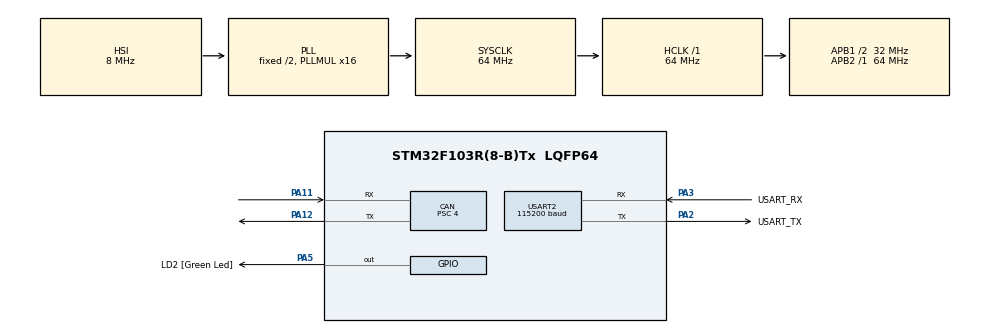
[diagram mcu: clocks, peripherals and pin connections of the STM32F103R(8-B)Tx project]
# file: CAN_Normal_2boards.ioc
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CAN.AutoBusOff=ENABLE
CAN.AutoRetransmission=ENABLE
CAN.BS1=CAN_BS1_13TQ
CAN.BS2=CAN_BS2_2TQ
CAN.CalculateBaudRate=500000
CAN.CalculateTimeBit=2000
CAN.CalculateTimeQuantum=125
CAN.Mode=CAN_MODE_NORMAL
CAN.Prescaler=4
Mcu.Family=STM32F1
Mcu.Name=STM32F103R(8-B)Tx
Mcu.Package=LQFP64
NVIC.CAN1_SCE_IRQn=true\:2\:0\:false\:false\:true\:true\:true\:true
NVIC.PriorityGroup=NVIC_PRIORITYGROUP_4
NVIC.USB_LP_CAN1_RX0_IRQn=true\:1\:0\:false\:false\:true\:true\:true\:true
PA11.GPIO_PuPd=GPIO_PULLUP
PA11.Mode=Master
PA11.Signal=CAN_RX
PA12.GPIO_Speed=GPIO_SPEED_FREQ_HIGH
PA12.Mode=Master
PA12.Signal=CAN_TX
PA13.GPIO_Label=TMS
PA13.Mode=Serial_Wire
PA13.Signal=SYS_JTMS-SWDIO
PA14.GPIO_Label=TCK
PA14.Mode=Serial_Wire
PA14.Signal=SYS_JTCK-SWCLK
PA2.GPIO_Label=USART_TX
PA2.GPIO_Mode=GPIO_MODE_AF_PP
PA2.GPIO_PuPd=GPIO_NOPULL
PA2.GPIO_Speed=GPIO_SPEED_FREQ_LOW
PA2.Mode=Asynchronous
PA2.Signal=USART2_TX
PA3.GPIO_Label=USART_RX
PA3.GPIO_PuPd=GPIO_NOPULL
PA3.GPIO_Speed=GPIO_SPEED_FREQ_LOW
PA3.Mode=Asynchronous
PA3.Signal=USART2_RX
PA5.GPIO_Label=LD2 [Green Led]
PA5.GPIO_ModeDefaultOutputPP=GPIO_MODE_OUTPUT_PP
PA5.GPIO_PuPd=GPIO_NOPULL
PA5.GPIO_Speed=GPIO_SPEED_FREQ_LOW
PA5.Signal=GPIO_Output
PB3.GPIO_Label=SWO
PB3.Signal=SYS_JTDO-TRACESWO
PC14-OSC32_IN.Mode=LSE-External-Oscillator
PC14-OSC32_IN.Signal=RCC_OSC32_IN
PC15-OSC32_OUT.Mode=LSE-External-Oscillator
PC15-OSC32_OUT.Signal=RCC_OSC32_OUT
PD0-OSC_IN.Mode=HSE-External-Clock-Source
PD0-OSC_IN.Signal=RCC_OSC_IN
PD1-OSC_OUT.Mode=HSE-External-Clock-Source
PD1-OSC_OUT.Signal=RCC_OSC_OUT
ProjectManager.HeapSize=0x200
ProjectManager.StackSize=0x400
ProjectManager.TargetToolchain=STM32CubeIDE
RCC.AHBFreq_Value=64000000
RCC.APB1CLKDivider=RCC_HCLK_DIV2
RCC.APB1Freq_Value=32000000
RCC.APB1TimFreq_Value=64000000
RCC.APB2Freq_Value=64000000
RCC.APB2TimFreq_Value=64000000
RCC.HCLKFreq_Value=64000000
RCC.PLLMUL=RCC_PLL_MUL16
RCC.RTCClockSelection=RCC_RTCCLKSOURCE_LSE
RCC.SYSCLKFreq_VALUE=64000000
RCC.SYSCLKSource=RCC_SYSCLKSOURCE_PLLCLK
RCC.USBFreq_Value=64000000
USART2.BaudRate=115200
USART2.VirtualMode=VM_ASYNC
board=NUCLEO-F103RB

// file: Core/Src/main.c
/* USER CODE BEGIN Header */
/**
 ******************************************************************************
 * @file           : main.c
 * @brief          : Main program body
 ******************************************************************************
 * @attention
 *
 * Copyright (c) 2026 STMicroelectronics.
 * All rights reserved.
 *
 * This software is licensed under terms that can be found in the LICENSE file
 * in the root directory of this software component.
 * If no LICENSE file comes with this software, it is provided AS-IS.
 *
 ******************************************************************************
 */
/**
 * 15_CAN_Normal_2boards_c  —  [계층: HAL]  실제 CAN 버스(Normal 모드): 보드 2장 + 트랜시버, 오류 카운터와 버스오프 복구
 *
 * 01/02 예제는 루프백이라 "ACK 를 주는 상대"가 없었다. 실제 버스에서는 **다른 노드가 ACK 를 해 주어야** 송신이 성공한다.
 * 이 예제는 같은 코드를 보드 두 장에 올리고(노드 번호만 다르게) 서로 주고받는다.
 *
 * 배선 (보드마다 3.3V CAN 트랜시버 필요: SN65HVD230, TJA1051T/3 등)
 *   STM32 PA12 (CAN_TX) -> 트랜시버 TXD,  PA11 (CAN_RX) <- 트랜시버 RXD,  3.3V, GND
 *   트랜시버 CANH-CANH, CANL-CANL 로 두 보드를 연결하고 **버스 양 끝에 120Ω 종단 저항**(CANH-CANL 사이)
 *   Nucleo 에는 트랜시버가 없다. (PA11/PA12 는 USB 와 같은 핀이라 CAN 과 USB 는 동시에 못 쓴다)
 *
 * 빌드: 노드 번호는 platformio.ini 의 build_flags 에 `-DNODE_ID=0` 또는 `-DNODE_ID=1` 로 지정한다 (기본 0).
 *   보드 A 는 0, 보드 B 는 1 로 각각 빌드/업로드. 노드마다 송신 ID = 0x100 + NODE_ID 가 다르다.
 *
 * 동작
 *   - 500ms 마다 프레임 [ID 0x100+NODE_ID, 데이터: 노드번호, 32비트 카운터, LD2 상태] 송신, 수신하면 LD2 토글.
 *   - 수신 프레임을 UART(115200)로 출력하고, 상대 카운터가 건너뛰면(손실) 알린다.
 *   - 1초마다 **CAN 오류 카운터**(TEC 송신 오류 수, REC 수신 오류 수)와 상태를 출력: 상대가 없으면 ACK 오류로 TEC 가 올라가
 *     (Error Active -> Error Passive TEC > 127 -> Bus-Off TEC > 255) 순서로 나빠지는 것을 볼 수 있다.
 *   - Bus-Off 는 `AutoBusOff`(하드웨어 자동 복구, 128 x 11 recessive 비트 뒤)로 회복. 송신 메일박스가 막히면(ACK 없음) 요청을 취소해 재시도.
 *
 * 필터: 모든 프레임 통과 (필터 설정은 02_CAN_Filter 참고). 비트 타이밍: 500kbps (01_CAN_Loopback 참고).
 *
 * ISR vs 콜백
 *   USB_LP_CAN1_RX0_IRQHandler(수신) / CAN1_SCE_IRQHandler(상태 변화·오류) (stm32f1xx_it.c, 진짜 ISR) -> HAL_CAN_IRQHandler()
 *     -> HAL_CAN_RxFifo0MsgPendingCallback() / HAL_CAN_ErrorCallback() (이 파일)
 */
/* USER CODE END Header */
#include "main.h"

/* USER CODE BEGIN Includes */
#include <stdio.h>
#include <string.h>
/* USER CODE END Includes */

/* USER CODE BEGIN PD */
#ifndef NODE_ID
#define NODE_ID 0        /* platformio.ini build_flags 의 -DNODE_ID=0/1 로 덮어쓴다 */
#endif

/* USER CODE END PD */

CAN_HandleTypeDef hcan;
UART_HandleTypeDef huart2;

/* USER CODE BEGIN PV */
static volatile uint8_t rx_flag, err_flag;
static volatile uint32_t err_code;
static CAN_RxHeaderTypeDef rx_hdr;
static uint8_t rx_data[8];
/* USER CODE END PV */

void SystemClock_Config(void);
static void MX_GPIO_Init(void);
static void MX_CAN_Init(void);
static void MX_USART2_UART_Init(void);

int main(void)
{

  /* USER CODE BEGIN 1 */
  char msg[128];
  /* USER CODE END 1 */

  /* MCU Configuration--------------------------------------------------------*/

  /* Reset of all peripherals, Initializes the Flash interface and the Systick. */
  HAL_Init();

  /* Configure the system clock */
  SystemClock_Config();

  /* Initialize all configured peripherals */
  MX_GPIO_Init();
  MX_CAN_Init();
  MX_USART2_UART_Init();
  /* USER CODE BEGIN 2 */
  CAN_FilterTypeDef f = {0};                                            /* 모든 ID 통과 */
  f.FilterBank = 0;
  f.FilterMode = CAN_FILTERMODE_IDMASK;
  f.FilterScale = CAN_FILTERSCALE_32BIT;
  f.FilterFIFOAssignment = CAN_RX_FIFO0;
  f.FilterActivation = ENABLE;
  if (HAL_CAN_ConfigFilter(&hcan, &f) != HAL_OK) Error_Handler();
  if (HAL_CAN_Start(&hcan) != HAL_OK) Error_Handler();
  HAL_CAN_ActivateNotification(&hcan, CAN_IT_RX_FIFO0_MSG_PENDING | CAN_IT_ERROR_WARNING | CAN_IT_ERROR_PASSIVE |
                                      CAN_IT_BUSOFF | CAN_IT_LAST_ERROR_CODE | CAN_IT_ERROR);

  snprintf(msg, sizeof msg, "\r\n[CAN normal mode] node %d, tx id 0x%03X, 500kbps\r\n", NODE_ID, 0x100 + NODE_ID);
  HAL_UART_Transmit(&huart2, (uint8_t *)msg, (uint16_t)strlen(msg), 100);

  uint32_t counter = 0, t_tx = HAL_GetTick(), t_st = HAL_GetTick();
  uint32_t last_peer_cnt = 0;
  int have_peer = 0;
  uint32_t tx_skipped = 0;

  /* USER CODE END 2 */

  /* Infinite loop */
  while (1)
  {

    /* USER CODE BEGIN 3 */
    if (HAL_GetTick() - t_tx >= 500)
    {
        t_tx += 500;
        if (HAL_CAN_GetTxMailboxesFreeLevel(&hcan) == 0)              /* 이전 프레임이 ACK 를 못 받아 메일박스가 막힘 */
        {
            HAL_CAN_AbortTxRequest(&hcan, CAN_TX_MAILBOX0 | CAN_TX_MAILBOX1 | CAN_TX_MAILBOX2);
            tx_skipped++;
        }
        CAN_TxHeaderTypeDef h = {0};
        h.StdId = 0x100u + NODE_ID;
        h.IDE = CAN_ID_STD;  h.RTR = CAN_RTR_DATA;  h.DLC = 6;
        h.TransmitGlobalTime = DISABLE;
        uint8_t d[6] = { (uint8_t)NODE_ID, (uint8_t)counter, (uint8_t)(counter >> 8), (uint8_t)(counter >> 16),
                         (uint8_t)(counter >> 24), (uint8_t)HAL_GPIO_ReadPin(LD2_GPIO_Port, LD2_Pin) };
        uint32_t mb;
        if (HAL_CAN_AddTxMessage(&hcan, &h, d, &mb) == HAL_OK) counter++;
    }

    if (rx_flag)
    {
        rx_flag = 0;
        uint32_t peer_cnt = rx_data[1] | (rx_data[2] << 8) | (rx_data[3] << 16) | ((uint32_t)rx_data[4] << 24);
        int lost = (have_peer && peer_cnt != last_peer_cnt + 1) ? (int)(peer_cnt - last_peer_cnt - 1) : 0;
        have_peer = 1;
        last_peer_cnt = peer_cnt;
        int n = snprintf(msg, sizeof msg, "RX id=0x%03lX from node %u counter=%lu%s\r\n", (unsigned long)rx_hdr.StdId,
                         rx_data[0], (unsigned long)peer_cnt, lost > 0 ? "  <-- lost frames!" : "");
        HAL_UART_Transmit(&huart2, (uint8_t *)msg, (uint16_t)n, 100);
        HAL_GPIO_TogglePin(LD2_GPIO_Port, LD2_Pin);
    }

    if (err_flag)
    {
        err_flag = 0;
        int n = snprintf(msg, sizeof msg, "CAN error callback: HAL error code 0x%08lX\r\n", (unsigned long)err_code);
        HAL_UART_Transmit(&huart2, (uint8_t *)msg, (uint16_t)n, 100);
    }

    if (HAL_GetTick() - t_st >= 1000)
    {
        t_st += 1000;
        uint32_t esr = CAN1->ESR;                                      /* Error status register */
        uint32_t tec = (esr >> 16) & 0xFF, rec = (esr >> 24) & 0xFF;
        const char *state = (esr & CAN_ESR_BOFF) ? "BUS-OFF" : (esr & CAN_ESR_EPVF) ? "error passive" :
                            (esr & CAN_ESR_EWGF) ? "error warning" : "error active (ok)";
        int n = snprintf(msg, sizeof msg, "status: %s  TEC=%lu REC=%lu  sent=%lu tx-mailbox-aborts=%lu\r\n",
                         state, (unsigned long)tec, (unsigned long)rec, (unsigned long)counter, (unsigned long)tx_skipped);
        HAL_UART_Transmit(&huart2, (uint8_t *)msg, (uint16_t)n, 100);
    }
  }
  /* USER CODE END 3 */
}

void SystemClock_Config(void)
{
  RCC_OscInitTypeDef RCC_OscInitStruct = {0};
  RCC_ClkInitTypeDef RCC_ClkInitStruct = {0};

  /** Initializes the RCC Oscillators according to the specified parameters
  * in the RCC_OscInitTypeDef structure.
  */
  RCC_OscInitStruct.OscillatorType = RCC_OSCILLATORTYPE_HSI;
  RCC_OscInitStruct.HSIState = RCC_HSI_ON;
  RCC_OscInitStruct.HSICalibrationValue = RCC_HSICALIBRATION_DEFAULT;
  RCC_OscInitStruct.PLL.PLLState = RCC_PLL_ON;
  RCC_OscInitStruct.PLL.PLLSource = RCC_PLLSOURCE_HSI_DIV2;
  RCC_OscInitStruct.PLL.PLLMUL = RCC_PLL_MUL16;
  if (HAL_RCC_OscConfig(&RCC_OscInitStruct) != HAL_OK)
  {
    Error_Handler();
  }

  /** Initializes the CPU, AHB and APB buses clocks
  */
  RCC_ClkInitStruct.ClockType = RCC_CLOCKTYPE_HCLK|RCC_CLOCKTYPE_SYSCLK
                              |RCC_CLOCKTYPE_PCLK1|RCC_CLOCKTYPE_PCLK2;
  RCC_ClkInitStruct.SYSCLKSource = RCC_SYSCLKSOURCE_PLLCLK;
  RCC_ClkInitStruct.AHBCLKDivider = RCC_SYSCLK_DIV1;
  RCC_ClkInitStruct.APB1CLKDivider = RCC_HCLK_DIV2;
  RCC_ClkInitStruct.APB2CLKDivider = RCC_HCLK_DIV1;

  if (HAL_RCC_ClockConfig(&RCC_ClkInitStruct, FLASH_LATENCY_2) != HAL_OK)
  {
    Error_Handler();
  }
}

static void MX_GPIO_Init(void)
{
  GPIO_InitTypeDef GPIO_InitStruct = {0};

  /* GPIO Ports Clock Enable */
  __HAL_RCC_GPIOC_CLK_ENABLE();
  __HAL_RCC_GPIOD_CLK_ENABLE();
  __HAL_RCC_GPIOA_CLK_ENABLE();
  __HAL_RCC_GPIOB_CLK_ENABLE();

  /*Configure GPIO pin Output Level */
  HAL_GPIO_WritePin(LD2_GPIO_Port, LD2_Pin, GPIO_PIN_RESET);

  /*Configure GPIO pin : LD2_Pin */
  GPIO_InitStruct.Pin = LD2_Pin;
  GPIO_InitStruct.Mode = GPIO_MODE_OUTPUT_PP;
  GPIO_InitStruct.Pull = GPIO_NOPULL;
  GPIO_InitStruct.Speed = GPIO_SPEED_FREQ_LOW;
  HAL_GPIO_Init(LD2_GPIO_Port, &GPIO_InitStruct);

}

static void MX_CAN_Init(void)
{

  hcan.Instance = CAN1;
  hcan.Init.Prescaler = 4;
  hcan.Init.Mode = CAN_MODE_NORMAL;
  hcan.Init.SyncJumpWidth = CAN_SJW_1TQ;
  hcan.Init.TimeSeg1 = CAN_BS1_13TQ;
  hcan.Init.TimeSeg2 = CAN_BS2_2TQ;
  hcan.Init.TimeTriggeredMode = DISABLE;
  hcan.Init.AutoBusOff = ENABLE;
  hcan.Init.AutoWakeUp = DISABLE;
  hcan.Init.AutoRetransmission = ENABLE;
  hcan.Init.ReceiveFifoLocked = DISABLE;
  hcan.Init.TransmitFifoPriority = DISABLE;
  if (HAL_CAN_Init(&hcan) != HAL_OK)
  {
    Error_Handler();
  }
  /* USER CODE BEGIN CAN_Init 2 */
  /* 비트 타이밍 (CAN 클럭 = APB1 = 32MHz): tq = 4/32MHz = 125ns, 1비트 = 1+13+2 = 16tq = 2us -> 500kbps.
   * Mode  -> CAN1->BTR.LBKM/SILM,  AutoBusOff -> CAN1->MCR.ABOM,  AutoRetransmission -> MCR.NART(반전) */
  /* USER CODE END CAN_Init 2 */

}

static void MX_USART2_UART_Init(void)
{

  huart2.Instance = USART2;
  huart2.Init.BaudRate = 115200;
  huart2.Init.WordLength = UART_WORDLENGTH_8B;
  huart2.Init.StopBits = UART_STOPBITS_1;
  huart2.Init.Parity = UART_PARITY_NONE;
  huart2.Init.Mode = UART_MODE_TX_RX;
  huart2.Init.HwFlowCtl = UART_HWCONTROL_NONE;
  huart2.Init.OverSampling = UART_OVERSAMPLING_16;
  if (HAL_UART_Init(&huart2) != HAL_OK)
  {
    Error_Handler();
  }

}

/* USER CODE BEGIN 4 */
/* ------------------------------------------------------------------------- */
/* HAL 콜백 (ISR 문맥)                                                          */
/* ------------------------------------------------------------------------- */
void HAL_CAN_RxFifo0MsgPendingCallback(CAN_HandleTypeDef *h)
{
    if (HAL_CAN_GetRxMessage(h, CAN_RX_FIFO0, &rx_hdr, rx_data) == HAL_OK && rx_hdr.DLC >= 5) rx_flag = 1;
}

void HAL_CAN_ErrorCallback(CAN_HandleTypeDef *h)
{
    err_code = HAL_CAN_GetError(h);
    err_flag = 1;
    __HAL_CAN_CLEAR_FLAG(h, CAN_FLAG_ERRI);                                /* MSR.ERRI 플래그 지움 */
}

/* USER CODE END 4 */

void Error_Handler(void)
{
  __disable_irq();
  while (1) {
  }
}
#ifdef USE_FULL_ASSERT
/**
  * @brief  Reports the name of the source file and the source line number
  *         where the assert_param error has occurred.
  * @param  file: pointer to the source file name
  * @param  line: assert_param error line source number
  * @retval None
  */
void assert_failed(uint8_t *file, uint32_t line)
{
  /* USER CODE BEGIN 6 */
  /* User can add his own implementation to report the file name and line
     number, ex: printf("Wrong parameters value: file %s on line %d\r\n", file,
     line) */
  /* USER CODE END 6 */
}
#endif /* USE_FULL_ASSERT */
